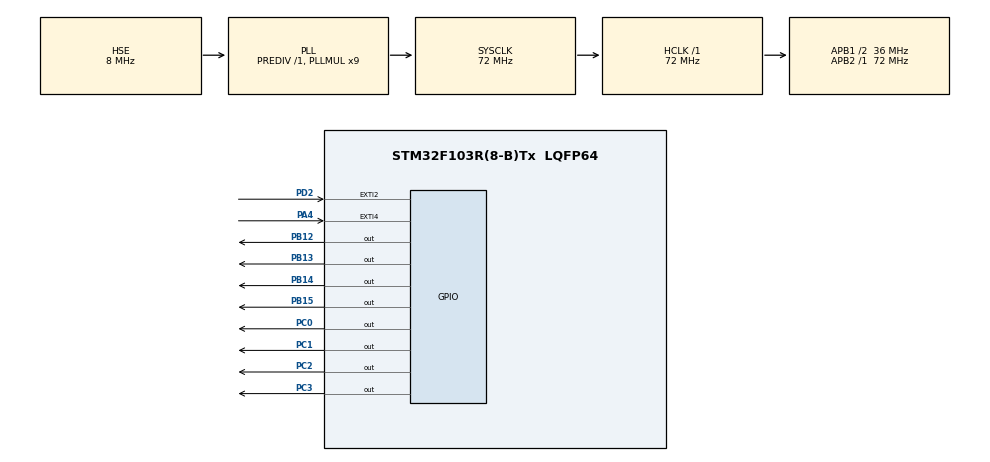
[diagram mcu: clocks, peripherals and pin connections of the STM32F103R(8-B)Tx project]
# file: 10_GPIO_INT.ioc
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Mcu.Family=STM32F1
Mcu.Name=STM32F103R(8-B)Tx
Mcu.Package=LQFP64
NVIC.EXTI2_IRQn=true\:0\:0\:false\:false\:true\:true\:true\:true
NVIC.EXTI4_IRQn=true\:0\:0\:false\:false\:true\:true\:true\:true
NVIC.PriorityGroup=NVIC_PRIORITYGROUP_4
PA4.GPIO_ModeDefaultEXTI=GPIO_MODE_IT_FALLING
PA4.Signal=GPXTI4
PB12.Signal=GPIO_Output
PB13.Signal=GPIO_Output
PB14.Signal=GPIO_Output
PB15.Signal=GPIO_Output
PC0.Signal=GPIO_Output
PC1.Signal=GPIO_Output
PC14-OSC32_IN.Mode=LSE-External-Oscillator
PC14-OSC32_IN.Signal=RCC_OSC32_IN
PC15-OSC32_OUT.Mode=LSE-External-Oscillator
PC15-OSC32_OUT.Signal=RCC_OSC32_OUT
PC2.Signal=GPIO_Output
PC3.Signal=GPIO_Output
PD0-OSC_IN.Mode=HSE-External-Clock-Source
PD0-OSC_IN.Signal=RCC_OSC_IN
PD1-OSC_OUT.Mode=HSE-External-Clock-Source
PD1-OSC_OUT.Signal=RCC_OSC_OUT
PD2.GPIO_ModeDefaultEXTI=GPIO_MODE_IT_FALLING
PD2.Signal=GPXTI2
ProjectManager.HeapSize=0x200
ProjectManager.StackSize=0x400
ProjectManager.TargetToolchain=STM32CubeIDE
RCC.AHBFreq_Value=72000000
RCC.APB1CLKDivider=RCC_HCLK_DIV2
RCC.APB1Freq_Value=36000000
RCC.APB1TimFreq_Value=72000000
RCC.APB2Freq_Value=72000000
RCC.APB2TimFreq_Value=72000000
RCC.HCLKFreq_Value=72000000
RCC.PLLMUL=RCC_PLL_MUL9
RCC.PLLSourceVirtual=RCC_PLLSOURCE_HSE
RCC.SYSCLKFreq_VALUE=72000000
RCC.SYSCLKSource=RCC_SYSCLKSOURCE_PLLCLK
RCC.USBFreq_Value=72000000
board=custom

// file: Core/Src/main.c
/* USER CODE BEGIN Header */
/**
  ******************************************************************************
  * @file           : main.c
  * @brief          : Main program body
  ******************************************************************************
  * @attention
  *
  * Copyright (c) 2023 STMicroelectronics.
  * All rights reserved.
  *
  * This software is licensed under terms that can be found in the LICENSE file
  * in the root directory of this software component.
  * If no LICENSE file comes with this software, it is provided AS-IS.
  *
  ******************************************************************************
  */
/* USER CODE END Header */
#include "main.h"

/* USER CODE BEGIN PD */
#define  LED_OFF 0
#define  LED_ON	1
#define MODE_A 0
#define MODE_B 1
/* USER CODE END PD */

/* USER CODE BEGIN PV */
uint8_t led_state = 0;
volatile uint8_t ambulance_mode = MODE_A;
/* USER CODE END PV */

void SystemClock_Config(void);
static void MX_GPIO_Init(void);

/* USER CODE BEGIN 0 */
typedef struct led {
  GPIO_TypeDef *port;
  uint16_t pin;
   } LED;
LED led[8] = {
  {GPIOC, GPIO_PIN_3},{GPIOC, GPIO_PIN_2},
  {GPIOC, GPIO_PIN_1},{GPIOC, GPIO_PIN_0},
  {GPIOB, GPIO_PIN_15},{GPIOB, GPIO_PIN_14},
  {GPIOB, GPIO_PIN_13},{GPIOB, GPIO_PIN_12},
};

void led_all_off(){
	for (uint8_t i = 0; i < 8; i++)  {
		HAL_GPIO_WritePin(led[i].port, led[i].pin, GPIO_PIN_RESET);
	}
}

void ambulance_a(){
  for (uint8_t i = 0; i < 4; i++)  {
	  HAL_GPIO_WritePin(led[i].port, led[i].pin, GPIO_PIN_SET);
	  HAL_GPIO_WritePin(led[i+4].port, led[i+4].pin, GPIO_PIN_RESET);
  }
  HAL_Delay(500);
  if(ambulance_mode == MODE_B) {
	  led_all_off();
	  return;
  }
  for (uint8_t i = 0; i < 4; i++)  {
	  HAL_GPIO_WritePin(led[i].port, led[i].pin, GPIO_PIN_RESET);
	  HAL_GPIO_WritePin(led[i+4].port, led[i+4].pin, GPIO_PIN_SET);
  }
  HAL_Delay(500);
  if(ambulance_mode == MODE_B) {
	  led_all_off();
	  return;
  }
}

void ambulance_b(){
	for (uint8_t i = 0; i < 8; i++)  {
		HAL_GPIO_WritePin(led[i].port, led[i].pin, GPIO_PIN_SET);
		HAL_Delay(100);
		HAL_GPIO_WritePin(led[i].port, led[i].pin, GPIO_PIN_RESET);
		HAL_Delay(100);
		if(ambulance_mode == MODE_A) {
			led_all_off();
			return;
		}
	}
	for (uint8_t j = 6; j > 0; j--)  {
		HAL_GPIO_WritePin(led[j].port, led[j].pin, GPIO_PIN_SET);
		HAL_Delay(100);
		HAL_GPIO_WritePin(led[j].port, led[j].pin, GPIO_PIN_RESET);
		HAL_Delay(100);
		if(ambulance_mode == MODE_A) {
			led_all_off();
			return;
		}
	}
}

/* USER CODE END 0 */

int main(void)
{

  /* MCU Configuration--------------------------------------------------------*/

  /* Reset of all peripherals, Initializes the Flash interface and the Systick. */
  HAL_Init();

  /* Configure the system clock */
  SystemClock_Config();

  /* Initialize all configured peripherals */
  MX_GPIO_Init();

  /* Infinite loop */
  while (1)
  {
	  if(ambulance_mode == MODE_A){
		ambulance_a();
	  } else {
		ambulance_b();
	  }
  }
}

void SystemClock_Config(void)
{
  RCC_OscInitTypeDef RCC_OscInitStruct = {0};
  RCC_ClkInitTypeDef RCC_ClkInitStruct = {0};

  /** Initializes the RCC Oscillators according to the specified parameters
  * in the RCC_OscInitTypeDef structure.
  */
  RCC_OscInitStruct.OscillatorType = RCC_OSCILLATORTYPE_HSE;
  RCC_OscInitStruct.HSEState = RCC_HSE_BYPASS;
  RCC_OscInitStruct.HSEPredivValue = RCC_HSE_PREDIV_DIV1;
  RCC_OscInitStruct.HSIState = RCC_HSI_ON;
  RCC_OscInitStruct.PLL.PLLState = RCC_PLL_ON;
  RCC_OscInitStruct.PLL.PLLSource = RCC_PLLSOURCE_HSE;
  RCC_OscInitStruct.PLL.PLLMUL = RCC_PLL_MUL9;
  if (HAL_RCC_OscConfig(&RCC_OscInitStruct) != HAL_OK)
  {
    Error_Handler();
  }

  /** Initializes the CPU, AHB and APB buses clocks
  */
  RCC_ClkInitStruct.ClockType = RCC_CLOCKTYPE_HCLK|RCC_CLOCKTYPE_SYSCLK
                              |RCC_CLOCKTYPE_PCLK1|RCC_CLOCKTYPE_PCLK2;
  RCC_ClkInitStruct.SYSCLKSource = RCC_SYSCLKSOURCE_PLLCLK;
  RCC_ClkInitStruct.AHBCLKDivider = RCC_SYSCLK_DIV1;
  RCC_ClkInitStruct.APB1CLKDivider = RCC_HCLK_DIV2;
  RCC_ClkInitStruct.APB2CLKDivider = RCC_HCLK_DIV1;

  if (HAL_RCC_ClockConfig(&RCC_ClkInitStruct, FLASH_LATENCY_2) != HAL_OK)
  {
    Error_Handler();
  }
}

static void MX_GPIO_Init(void)
{
  GPIO_InitTypeDef GPIO_InitStruct = {0};

  /* GPIO Ports Clock Enable */
  __HAL_RCC_GPIOC_CLK_ENABLE();
  __HAL_RCC_GPIOD_CLK_ENABLE();
  __HAL_RCC_GPIOA_CLK_ENABLE();
  __HAL_RCC_GPIOB_CLK_ENABLE();

  /*Configure GPIO pin Output Level */
  HAL_GPIO_WritePin(GPIOC, GPIO_PIN_0|GPIO_PIN_1|GPIO_PIN_2|GPIO_PIN_3, GPIO_PIN_RESET);

  /*Configure GPIO pin Output Level */
  HAL_GPIO_WritePin(GPIOB, GPIO_PIN_12|GPIO_PIN_13|GPIO_PIN_14|GPIO_PIN_15, GPIO_PIN_RESET);

  /*Configure GPIO pins : PC0 PC1 PC2 PC3 */
  GPIO_InitStruct.Pin = GPIO_PIN_0|GPIO_PIN_1|GPIO_PIN_2|GPIO_PIN_3;
  GPIO_InitStruct.Mode = GPIO_MODE_OUTPUT_PP;
  GPIO_InitStruct.Pull = GPIO_NOPULL;
  GPIO_InitStruct.Speed = GPIO_SPEED_FREQ_LOW;
  HAL_GPIO_Init(GPIOC, &GPIO_InitStruct);

  /*Configure GPIO pin : PA4 */
  GPIO_InitStruct.Pin = GPIO_PIN_4;
  GPIO_InitStruct.Mode = GPIO_MODE_IT_FALLING;
  GPIO_InitStruct.Pull = GPIO_NOPULL;
  HAL_GPIO_Init(GPIOA, &GPIO_InitStruct);

  /*Configure GPIO pins : PB12 PB13 PB14 PB15 */
  GPIO_InitStruct.Pin = GPIO_PIN_12|GPIO_PIN_13|GPIO_PIN_14|GPIO_PIN_15;
  GPIO_InitStruct.Mode = GPIO_MODE_OUTPUT_PP;
  GPIO_InitStruct.Pull = GPIO_NOPULL;
  GPIO_InitStruct.Speed = GPIO_SPEED_FREQ_LOW;
  HAL_GPIO_Init(GPIOB, &GPIO_InitStruct);

  /*Configure GPIO pin : PD2 */
  GPIO_InitStruct.Pin = GPIO_PIN_2;
  GPIO_InitStruct.Mode = GPIO_MODE_IT_FALLING;
  GPIO_InitStruct.Pull = GPIO_NOPULL;
  HAL_GPIO_Init(GPIOD, &GPIO_InitStruct);

  /* EXTI interrupt init*/
  HAL_NVIC_SetPriority(EXTI2_IRQn, 0, 0);
  HAL_NVIC_EnableIRQ(EXTI2_IRQn);

  HAL_NVIC_SetPriority(EXTI4_IRQn, 0, 0);
  HAL_NVIC_EnableIRQ(EXTI4_IRQn);

}

/* USER CODE BEGIN 4 */
void HAL_GPIO_EXTI_Callback(uint16_t GPIO_Pin)
{
#if 1
	if(!HAL_GPIO_ReadPin(GPIOD, GPIO_PIN_2)){
		if(ambulance_mode == MODE_A){
			ambulance_mode = MODE_B;
		} else {
			ambulance_mode = MODE_A;
		}
	}
#endif

#if 0
  if (!HAL_GPIO_ReadPin(GPIOD, GPIO_PIN_2)) {
	if (led_state == LED_ON) {
	  HAL_GPIO_WritePin(GPIOB, GPIO_PIN_15, GPIO_PIN_RESET);
	  HAL_GPIO_WritePin(GPIOC, GPIO_PIN_0, GPIO_PIN_RESET);
	  led_state = LED_OFF;
	} else {
	  HAL_GPIO_WritePin(GPIOB, GPIO_PIN_15, GPIO_PIN_SET);
	  HAL_GPIO_WritePin(GPIOC, GPIO_PIN_0, GPIO_PIN_SET);
	  led_state = LED_ON;
	}
  }
#endif
}
/* USER CODE END 4 */

void Error_Handler(void)
{
  __disable_irq();
  while (1)
  {
  }
}
